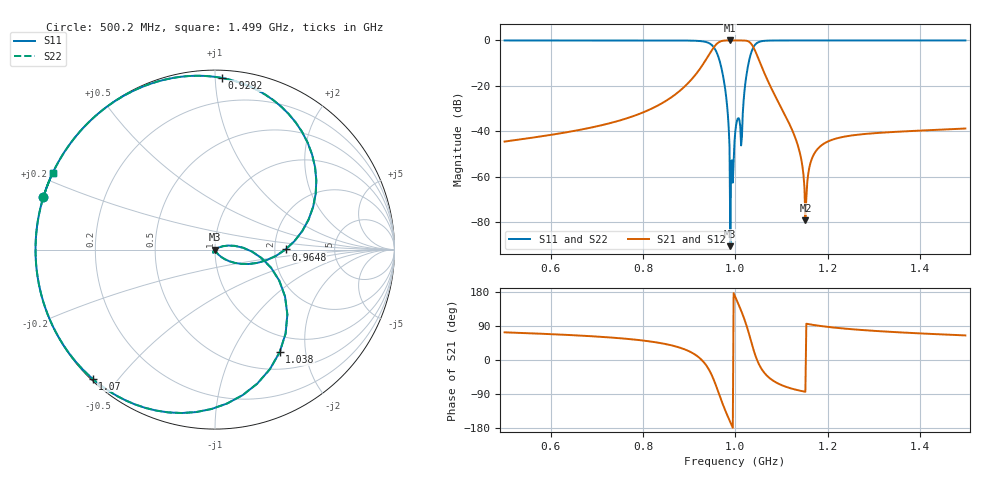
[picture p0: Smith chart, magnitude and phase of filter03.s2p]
# HZ S RI R 50.000000
! FREQ(HZ)  reS11  imS11  reS21  imS21  reS12  imS12  reS22  imS22
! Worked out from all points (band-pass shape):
!   614 points, 500.2 MHz to 1.499 GHz, reference 50 ohm
!   highest |S21| = 0.00 dB at 989.3 MHz (marker M1); lowest = -79.1 dB at 1.152 GHz (marker M2)
!   |S21| within 3 dB of the highest: 953.6 MHz to 1.039 GHz (85.66 MHz wide, 8.6 % of centre)
!   lowest |S11| = -90.5 dB at 989.3 MHz (marker M3), VSWR 1.00, Z = 50 + j0.00287 ohm
!   |S11| at or under -10 dB: 967.5 MHz to 1.029 GHz (61.27 MHz wide, 6.14 % of centre)
!   |S22| runs from -90.5 to 0.0 dB; largest |S21 - S12| = 0
!   S11 on the Smith chart (normalised r, x): 500.2 MHz: 0.00, +0.15; 929.2 MHz: 0.05, +1.04; 964.8 MHz: 2.30, +0.01; 1.038 GHz: 0.74, -1.55; 1.07 GHz: 0.01, -0.43; 1.499 GHz: 0.00, +0.22
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5.00224e8  -0.9563 0.2924  0.00174 0.00571  0.00174 0.00571  -0.9563 0.2924
6.672932e8  -0.9004 0.4349  0.00479 0.00991  0.00479 0.00991  -0.9004 0.4349
8.331192e8  -0.7148 0.6983  0.0262 0.0268  0.0262 0.0268  -0.7148 0.6983
9.292339e8  0.0396 0.9562  0.2899 -0.012  0.2899 -0.012  0.0396 0.9562
9.511094e8  0.5408 0.5304  0.4571 -0.4661  0.4571 -0.4661  0.5408 0.5304
9.648265e8  0.3933 0.000973  0.00228 -0.9194  0.00228 -0.9194  0.3933 0.000973
9.787414e8  0.0543 -0.0534  -0.6987 -0.7114  -0.6987 -0.7114  0.0543 -0.0534
9.893091e8  -8.07e-06 2.87e-05  -0.9627 -0.2705  -0.9627 -0.2705  -8.07e-06 2.87e-05
9.946357e8  -1.5e-05 0.000744  -0.9998 -0.0201  -0.9998 -0.0201  -1.5e-05 0.000744
9.99991e8  -0.00228 -0.00949  -0.9723 0.2337  -0.9723 0.2337  -0.00228 -0.00949
1.003577e9  -0.00676 -0.0156  -0.9171 0.3983  -0.9171 0.3983  -0.00676 -0.0156
1.014413e9  0.00612 0.00426  -0.5715 0.8206  -0.5715 0.8206  0.00612 0.00426
1.021702e9  0.1104 0.0208  -0.1841 0.9765  -0.1841 0.9765  0.1104 0.0208
1.038294e9  0.3602 -0.5714  0.6238 0.3932  0.6238 0.3932  0.3602 -0.5714
1.051385e9  -0.1844 -0.9106  0.3626 -0.0734  0.3626 -0.0734  -0.1844 -0.9106
1.070373e9  -0.6825 -0.7192  0.0945 -0.0897  0.0945 -0.0897  -0.6825 -0.7192
1.12942e9  -0.9777 -0.2101  0.00157 -0.00731  0.00157 -0.00731  -0.9777 -0.2101
1.151877e9  -0.9943 -0.107  1.19e-05 -0.00011  1.19e-05 -0.00011  -0.9943 -0.107
1.1664e9  -0.9986 -0.0535  -0.000137 0.00256  -0.000137 0.00256  -0.9986 -0.0535
1.211077e9  -0.9975 0.0707  0.000467 0.00658  0.000467 0.00658  -0.9975 0.0707
1.333977e9  -0.9632 0.2685  0.00257 0.00924  0.00257 0.00924  -0.9632 0.2685
1.498565e9  -0.9053 0.4246  0.00491 0.0105  0.00491 0.0105  -0.9053 0.4246
